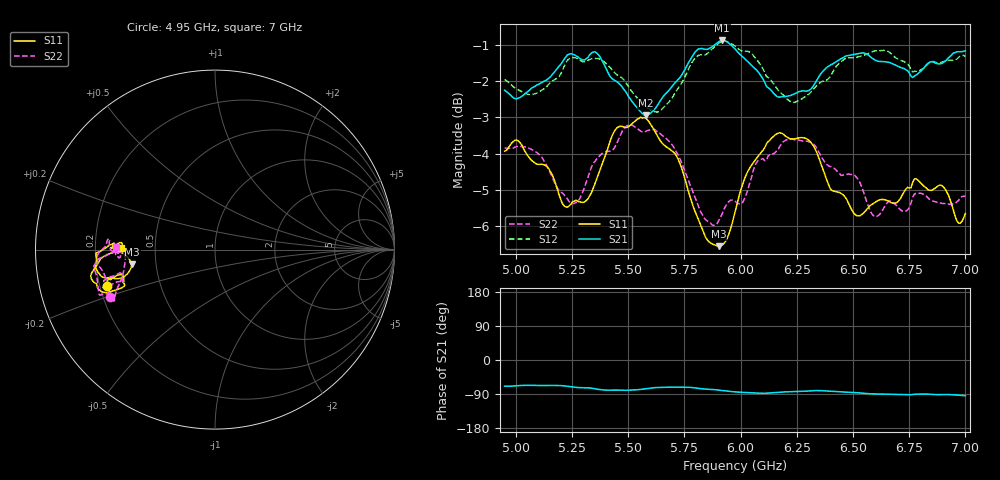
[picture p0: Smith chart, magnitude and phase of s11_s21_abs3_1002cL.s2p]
! MS46122B
! 1919307/90821646
! 5/18/2022 2:11:22 PM
! C:\USERS\PC_\DESKTOP\CARACTERIZACION\MEDICIONES\S11_S21_ABS3_1002CL.S2P
! CHANNEL.1
! TR.MEASUREMENT
! CORRECTED.DATA
# GHZ S RI R 50.0
! FREQ.GHZ  S11RE  S11IM  S21RE  S21IM  S12RE  S12IM  S22RE  S22IM
!; PortSelection: Port_12
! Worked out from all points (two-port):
!   272 points, 4.95 GHz to 7 GHz, reference 50 ohm
!   highest |S21| = -0.87 dB at 5.918 GHz (marker M1); lowest = -2.9 dB at 5.578 GHz (marker M2)
!   |S21| within 3 dB of the highest: start of sweep to end of sweep
!   lowest |S11| = -6.6 dB at 5.903 GHz (marker M3), VSWR 2.77, Z = 18.2 - j3.83 ohm
!   |S11| at or under -10 dB: nowhere
!   |S22| runs from -6.0 to -3.2 dB; largest |S21 - S12| = 0.054
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4.95  -0.602 -0.2052  0.2757 -0.7213  0.3025 -0.7395  -0.5856 -0.2642
5.055904  -0.6001 -0.1746  0.3018 -0.7084  0.2805 -0.7083  -0.6191 -0.1718
5.184502  -0.5454 -0.1433  0.3202 -0.7631  0.3037 -0.7425  -0.5473 -0.1392
5.29797  -0.503 -0.1963  0.2469 -0.8137  0.2771 -0.7987  -0.5287 -0.1807
5.388745  -0.5714 -0.2304  0.1614 -0.8273  0.1965 -0.8243  -0.5642 -0.2855
5.509779  -0.6644 -0.1882  0.1369 -0.7377  0.1396 -0.7611  -0.6456 -0.2493
5.57786  -0.6914 -0.1423  0.1727 -0.6914  0.1744 -0.7117  -0.6643 -0.1318
5.638376  -0.6554 -0.0818  0.2256 -0.7079  0.2059 -0.692  -0.6688 -0.0807
5.766974  -0.5604 -0.0141  0.2625 -0.7997  0.2622 -0.7814  -0.5801 -0.0221
5.819926  -0.5037 -0.0273  0.2223 -0.8526  0.2446 -0.8287  -0.5256 -0.000792
5.903137  -0.4626 -0.0822  0.1655 -0.8861  0.2134 -0.8718  -0.5032 -0.0825
5.918266  -0.463 -0.0881  0.1501 -0.8923  0.1931 -0.8824  -0.5079 -0.1156
5.978782  -0.5077 -0.1512  0.0873 -0.8741  0.1098 -0.8802  -0.5101 -0.181
6.114945  -0.6337 -0.1487  0.0333 -0.7809  0.0367 -0.8059  -0.5835 -0.203
6.183026  -0.668 -0.0839  0.0694 -0.7533  0.0551 -0.7618  -0.6442 -0.0946
6.319188  -0.6497 -0.0148  0.1223 -0.7696  0.1082 -0.7639  -0.6517 -0.0246
6.440221  -0.5572 0.0172  0.0944 -0.846  0.1309 -0.8322  -0.5887 0.0607
6.591513  -0.5385 -0.00206  0.00669 -0.8524  0.0362 -0.8736  -0.5174 -0.00848
6.659594  -0.5419 -0.000635  -0.00841 -0.8441  0.00401 -0.8724  -0.5416 -0.0304
6.765498  -0.5755 0.0119  -0.0129 -0.804  -0.0149 -0.8182  -0.5493 -7.64e-05
6.833579  -0.5619 0.0222  -0.000632 -0.8411  -0.0126 -0.8398  -0.5471 -0.0305
7  -0.5212 0.00801  -0.0625 -0.8733  -0.0481 -0.8584  -0.5506 0.017
